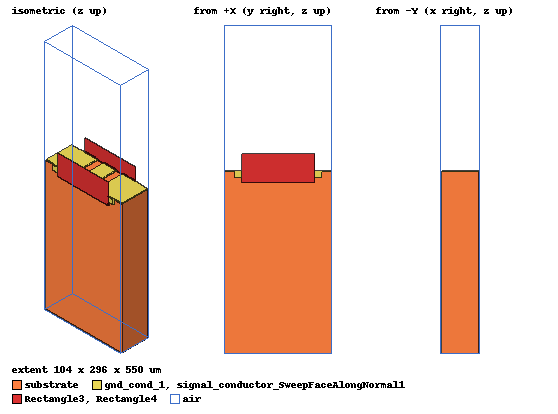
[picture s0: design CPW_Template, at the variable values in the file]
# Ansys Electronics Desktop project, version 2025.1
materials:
  vacuum: permittivity=1
  sapphire: permittivity=10 dielectric_loss_tangent=2e-05
  air: permittivity=1.0006 permeability=1.0000004
  gold: permeability=0.99996 conductivity=41000000

design CPW_Template (HFSS, HFSS Terminal Network, model units um)
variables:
  subx = 100um
  suby = s + 2*(g+gnd_width)
  subz = 500um
  s = 50um
  g = 23um
  gnd_width = 100um
  Tmet = 2um
  air_box_h = 2*subz
  porty = 3*(2*g+s)
  portz = 75um
  airx = subx+Tmet
  airy = suby
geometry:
  substrate [sapphire] = box(corner=(-subx/2, -suby/2, 0um), size=(subx, suby, subz))
  signal_dummy [vacuum, non-model] = substrate.section(plane=ZX)
  signal_dummy.thicken(s, both sides)
  gap_dummy1 [vacuum, non-model] = sweep_along_normal(signal_dummy.face(at (0, -25, 250)), length=g)
  gap_dummy2 [vacuum, non-model] = sweep_along_normal(signal_dummy.face(at (0, 25, 250)), length=g)
  gnd_dummy1 [vacuum, non-model] = sweep_along_normal(gap_dummy1.face(at (0, -48, 250)), length=gnd_width)
  gnd_dummy2 [vacuum, non-model] = sweep_along_normal(gap_dummy2.face(at (0, 48, 250)), length=gnd_width)
  signal_conductor = sweep_along_normal(signal_dummy.face(at (0, 0, 500)), length=Tmet)
  gnd_cond_1 [gold] = sweep_along_normal(gnd_dummy1.face(at (0, -98, 500)), length=Tmet)
  gnd_cond_2 = sweep_along_normal(gnd_dummy2.face(at (0, 98, 500)), length=Tmet)
  Rectangle1 = rectangle(corner=(subx/2, -48um, 502um), y_size=-70um, z_size=-20um)
  Rectangle1_1 = Rectangle1.duplicate_mirror(point=(0um, 0um, 515um), normal=(0um, -1um, 0um))
  Rectangle2 = rectangle(corner=(50um, -48um, 496um), y_size=96um, z_size=2um)
  Rectangle1.unite(Rectangle2, Rectangle1_1)
  Rectangle1.thicken(Tmet)
  signal_conductor_SweepFaceAlongNormal1 [gold] = sweep_along_normal(signal_conductor_SweepFaceAlongNormal1.face(at (50, 0, 501)), length=Tmet)
  Rectangle1_2 = Rectangle1.duplicate_mirror(point=(0um, 0um, 502um), normal=(1um, 0um, 0um))
  signal_conductor_SweepFaceAlongNormal2 = sweep_along_normal(signal_conductor_SweepFaceAlongNormal1.face(at (-50, 0, 501)), length=Tmet)
  gnd_cond_1.unite(Rectangle1, gnd_cond_2, Rectangle1_2)
  Rectangle3 = rectangle(corner=(52um, -100um, 470um), y_size=200um, z_size=80um)
  Rectangle4 = rectangle(corner=(-52um, -100um, 470um), y_size=200um, z_size=80um)
  air [air] = box(corner=(-subx/2 -2*Tmet, -suby/2, 0), size=(subx+4*Tmet, suby, subz + 400um))
  signal_conductor_SweepFaceAlongNormal1.unite(signal_conductor_SweepFaceAlongNormal2, signal_conductor)
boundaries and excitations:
  PerfE1: Perfect E Faces=substrate.face(-z)
  signal_conductor_SweepFaceAlongNormal1_T1: Terminal port=1 Faces=signal_conductor_SweepFaceAlongNormal1.face(at (52, 0, 501)) TerminalResistance=50ohm
  signal_conductor_SweepFaceAlongNormal1_T2: Terminal port=2 Faces=signal_conductor_SweepFaceAlongNormal1.face(at (-52, 0, 501)) TerminalResistance=50ohm
  1: Lumped Port Faces=Rectangle3.face LumpedPortType=Terminal RenormalizeAllTerminals=false Impedance=50ohm
  2: Lumped Port Faces=Rectangle4.face LumpedPortType=Terminal RenormalizeAllTerminals=false Impedance=50ohm
  reference conductors: gnd_cond_1
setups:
  Setup1: HfssDriven Frequency=33.5GHz MaxDeltaS=0.02 MaximumPasses=6 MinimumPasses=1 MinimumConvergedPasses=1 PercentRefinement=30 BasisOrder=1 PortAccuracy=2 DrivenSolverType="Direct Solver"
    sweep Sweep: 5GHz to 40GHz, 401 points; Type=Interpolating InterpTolerance=0.5 InterpMaxSolns=250 PassivityErrorTolerance=0.0001
  broadband: HfssDriven Frequency=5GHz MaxDeltaS=0.02 MaximumPasses=6 MinimumPasses=1 MinimumConvergedPasses=1 PercentRefinement=30 BasisOrder=1 PortAccuracy=2 DrivenSolverType="Direct Solver"
    sweep Sweep: 5GHz to 50GHz, 401 points; Type=Fast
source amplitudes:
  1:1: 1 0
  2:1: 0V 0deg
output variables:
  Zo = 50*(1 + re(St(signal_conductor_T1,signal_conductor_T1)))/(1-re(St(signal_conductor_T1,signal_conductor_T1)))
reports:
  Terminal S Parameter Plot1: dB(St(signal_conductor_SweepFaceAlongNormal1_T1,signal_conductor_SweepFaceAlongNormal1_T1)) vs Freq on Setup1 : Sweep
  Terminal S Parameter Plot2: dB(St(signal_conductor_SweepFaceAlongNormal1_T1,signal_conductor_SweepFaceAlongNormal1_T2)) vs Freq on Setup1 : Sweep
  Terminal Z Parameter Chart1: St(signal_conductor_SweepFaceAlongNormal1_T1,signal_conductor_SweepFaceAlongNormal1_T1) on Setup1 : Sweep [Freq=all]
  Terminal Port Zo Plot1: re(Zot(signal_conductor_SweepFaceAlongNormal1_T1,signal_conductor_SweepFaceAlongNormal1_T1)) vs Freq on Setup1 : Sweep
